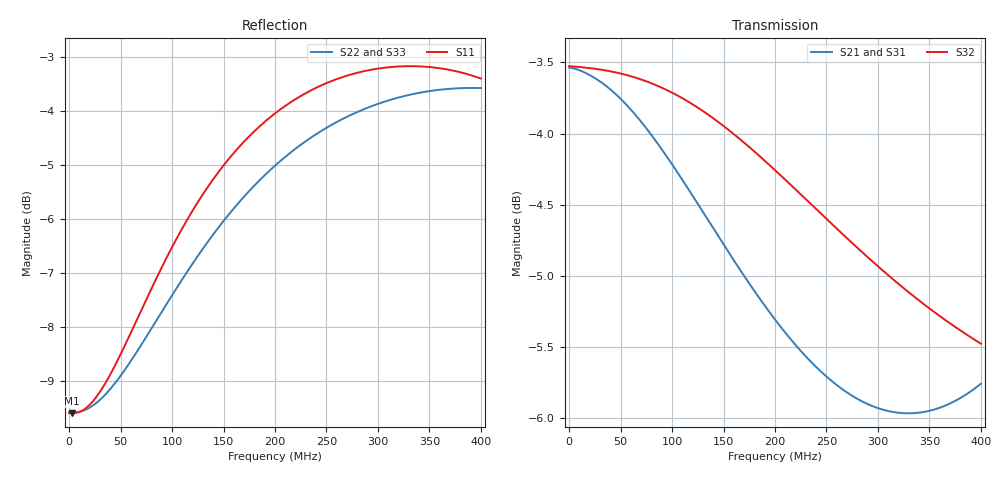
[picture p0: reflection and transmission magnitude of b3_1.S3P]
!Generated from: C:\Users\nkfzm\OneDrive - University of Missouri\Desktop\Research\PowerSI\Board 3 - GPG\Board 3 - GPG - simple.spd
! Port1_ic_port::pwr
! Port2_decap_port1_1::pwr
! Port3_decap_port2_1::pwr
!Layout Workbench Version: 24.1.0.10141.541387  000
!Computer Host Name: RS29JQCX3
!TouchstoneFormatFlag = 1
! GNDNET gnd
! NETSLIST
#	Hz	Z	RI	R	1
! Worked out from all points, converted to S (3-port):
!   235 points, 10 kHz to 400 MHz, reference 1 ohm
!   strongest paths, dB at 10 kHz, 48 MHz, 166 MHz, 284 MHz, 400 MHz:
!     S32: -3.5, -3.6, -4.0, -4.8, -5.5
!     S21: -3.5, -3.7, -5.0, -5.9, -5.8
!     S31: -3.5, -3.7, -5.0, -5.9, -5.8
!   lowest |S11| = -9.6 dB at 2.5 MHz (marker M1), VSWR 1.99, Z = 0.503 + j0.0186 ohm
!   |S11| at or under -10 dB: nowhere
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10000  -0.0917 -4.311e+04  -0.0931 -4.311e+04  -0.0931 -4.311e+04
       -0.0931 -4.311e+04  -0.0919 -4.311e+04  -0.0927 -4.311e+04
       -0.0931 -4.311e+04  -0.0927 -4.311e+04  -0.0918 -4.311e+04
2500000  0.00142 -172.4  -0.000278 -172.5  -0.000279 -172.5
         -0.000278 -172.5  0.00126 -172.4  0.000247 -172.5
         -0.000279 -172.5  0.000247 -172.5  0.00126 -172.4
4.6e7  0.00507 -9.232  -0.00099 -9.419  -0.00099 -9.419
       -0.00099 -9.419  0.00448 -9.172  0.000898 -9.332
       -0.00099 -9.419  0.000898 -9.332  0.00449 -9.171
1e8  0.00753 -4.008  -0.00149 -4.413  -0.00149 -4.413
     -0.00149 -4.413  0.00666 -3.876  0.00138 -4.223
     -0.00149 -4.413  0.00138 -4.223  0.00667 -3.875
1.48e8  0.00927 -2.463  -0.0019 -3.066  -0.0019 -3.066
        -0.0019 -3.066  0.00821 -2.266  0.00177 -2.779
        -0.0019 -3.066  0.00177 -2.779  0.00822 -2.265
2.02e8  0.011 -1.513  -0.00239 -2.351  -0.00239 -2.351
        -0.00239 -2.351  0.00981 -1.244  0.00226 -1.943
        -0.00239 -2.351  0.00226 -1.943  0.00982 -1.243
2.52e8  0.0126 -0.9235  -0.00295 -1.994  -0.00295 -1.994
        -0.00295 -1.994  0.0113 -0.5861  0.00281 -1.459
        -0.00295 -1.994  0.00281 -1.459  0.0113 -0.5849
3.02e8  0.0143 -0.4629  -0.00365 -1.788  -0.00366 -1.788
        -0.00365 -1.788  0.0128 -0.057  0.00353 -1.105
        -0.00366 -1.788  0.00353 -1.105  0.0128 -0.0556
3.52e8  0.0161 -0.0665  -0.00462 -1.678  -0.00462 -1.678
        -0.00462 -1.678  0.0146 0.4087  0.0045 -0.816
        -0.00462 -1.678  0.0045 -0.816  0.0146 0.4103
4e8  0.0183 0.2888  -0.00595 -1.642  -0.00595 -1.642
     -0.00595 -1.642  0.0167 0.8314  0.00583 -0.5642
     -0.00595 -1.642  0.00583 -0.5642  0.0167 0.8333
